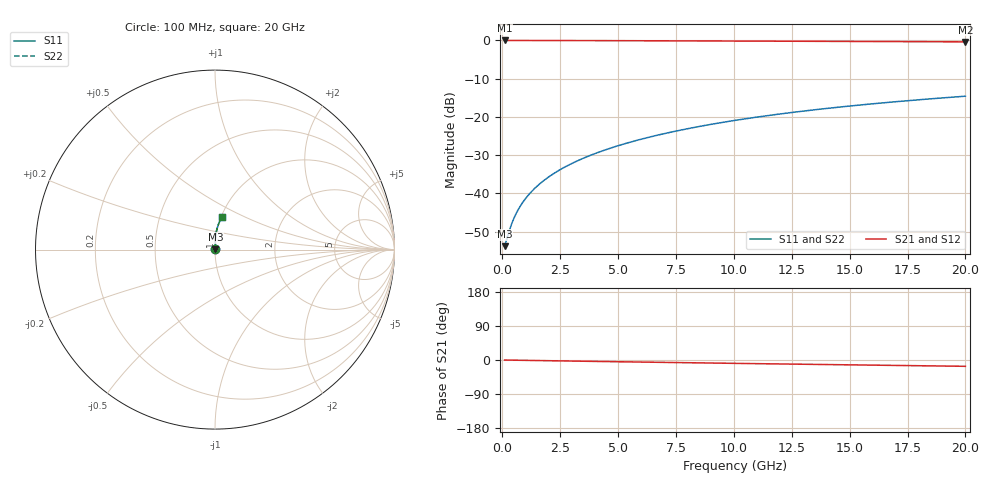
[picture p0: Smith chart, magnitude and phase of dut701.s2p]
! Touchstone file exported from HFSS 2024.1.0
!  File:  C:/UserFiles/LocalFiles/RDL_TSV_Batchsim/temp_RDL_bottom_701_1779857558.aedt
!  Generated:  12:55:39 PM May 27, 2026
!  Design:  RDL_bottom
!  Project:  temp_RDL_bottom_701_1779857558
!  Setup:  Setup1
!  Solution:  Sweep
! Variables:
!  dtsv = 10.80580581um
!  hbump = 3um
!  htsv = 71.24um
!  ldown = 194.24um
!  lrdl = 100um
!  p = 40
!  p1 = 49.94um
!  rhole = 1um
!  t = 450um
!  tdown = 2.07um
!  trdl = 3.915915916um
!  wdown = 23.38um
!  wrdl = 20um
# GHz S MA R 50.000000
! Terminal data exported
! Port[1] = RDL1_T1
! Port[2] = RDL1_T2
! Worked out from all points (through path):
!   200 points, 100 MHz to 20 GHz, reference 50 ohm
!   highest |S21| = -0.02 dB at 100 MHz (marker M1); lowest = -0.4 dB at 20 GHz (marker M2)
!   group delay of S21, straight-line fit = 2.29 ps
!   lowest |S11| = -53.8 dB at 100 MHz (marker M3), VSWR 1.00, Z = 50.2 + j0.0888 ohm
!   |S11| at or under -10 dB: start of sweep to end of sweep
!   |S22| runs from -53.8 to -14.6 dB; largest |S21 - S12| = 4.1e-15
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0.1  0.002051 25.6  0.9981 -0.1  0.9981 -0.1  0.002051 25.6
! Gamma 0 0 0 0
! Port Impedance 50 0 50 0
0.3  0.003251 53.6  0.998 -0.3  0.998 -0.3  0.003251 53.6
0.4  0.003983 60.2  0.998 -0.4  0.998 -0.4  0.003983 60.2
0.5  0.004736 64.6  0.9979 -0.5  0.9979 -0.5  0.004736 64.6
0.6  0.005495 67.8  0.9978 -0.6  0.9978 -0.6  0.005495 67.8
0.7  0.006257 70.3  0.9977 -0.7  0.9977 -0.7  0.006257 70.3
0.9  0.007788 73.9  0.9975 -0.9  0.9975 -0.9  0.007788 73.9
1.2  0.0101 77.6  0.9973 -1.2  0.9973 -1.2  0.0101 77.6
1.4  0.01166 79.3  0.9971 -1.3  0.9971 -1.3  0.01166 79.3
1.7  0.01403 81.3  0.9968 -1.6  0.9968 -1.6  0.01403 81.3
2.2  0.01805 83.6  0.9963 -2.1  0.9963 -2.1  0.01805 83.6
2.8  0.02298 85.3  0.9955 -2.6  0.9955 -2.6  0.02298 85.3
3.5  0.02888 86.7  0.9945 -3.3  0.9945 -3.3  0.02888 86.7
4.2  0.03495 87.5  0.9932 -3.9  0.9932 -3.9  0.03495 87.5
5  0.04206 88.0  0.9917 -4.6  0.9917 -4.6  0.04206 88.0
5.9  0.05029 88.3  0.9899 -5.4  0.9899 -5.4  0.05029 88.3
6.8  0.05872 88.2  0.9879 -6.2  0.9879 -6.2  0.05872 88.2
8.4  0.07407 87.7  0.9843 -7.5  0.9843 -7.5  0.07407 87.7
10.1  0.0907 86.6  0.9804 -8.9  0.9804 -8.9  0.0907 86.6
13.4  0.1232 83.9  0.9729 -11.6  0.9729 -11.6  0.1232 83.9
16.7  0.1553 81.0  0.9652 -14.1  0.9652 -14.1  0.1553 81.0
20  0.1866 78.0  0.9573 -16.7  0.9573 -16.7  0.1866 78.0
